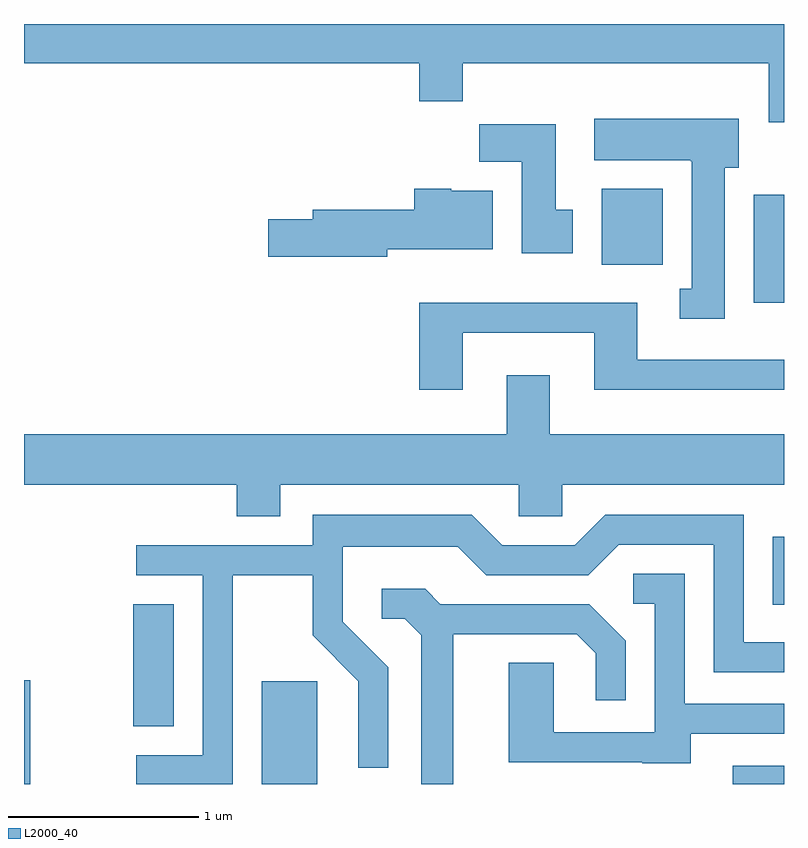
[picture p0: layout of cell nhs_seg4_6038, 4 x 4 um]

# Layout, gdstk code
import gdstk
lib = gdstk.Library(unit=1e-6, precision=1e-09)
def R(c, l, rs):  # rectangles x0, y0, x1, y1
    for r in rs: c.add(gdstk.rectangle(r[:2], r[2:], *l))
def P(c, l, *ps):  # polygons
    for p in ps: c.add(gdstk.Polygon(p, *l))
L2000_40 = (2000, 40)

nhs_seg4_6038 = lib.new_cell('nhs_seg4_6038')
R(nhs_seg4_6038, L2000_40, [(361.611,1361.982,361.644,1362.529), (362.861,1361.982,363.154,1362.524), (365.341,1361.982,365.611,1362.079), (362.186,1362.286,362.399,1362.929), (365.551,1362.926,365.611,1363.283), (365.451,1364.516,365.611,1365.084), (364.651,1364.716,364.974,1365.114)])
P(nhs_seg4_6038, L2000_40, [(365.611,1365.982),(361.611,1365.982),(361.611,1365.776),(363.691,1365.776),(363.691,1365.576),(363.919,1365.576),(363.919,1365.776),(365.531,1365.776),(365.531,1365.466),(365.611,1365.466)],
  [(365.299,1365.226),(365.374,1365.226),(365.374,1365.484),(364.611,1365.484),(364.611,1365.266),(365.12,1365.266),(365.12,1365.26),(365.126,1365.26),(365.126,1364.589),(365.063,1364.589),(365.063,1364.431),(365.299,1364.431)],
  [(364.499,1365.004),(364.409,1365.004),(364.409,1365.454),(364.006,1365.454),(364.006,1365.256),(364.231,1365.256),(364.231,1364.776),(364.499,1364.776)],
  [(363.524,1364.796),(364.079,1364.796),(364.079,1365.104),(363.86,1365.104),(363.86,1365.114),(363.666,1365.114),(363.666,1365.004),(363.131,1365.004),(363.131,1364.954),(362.896,1364.954),(362.896,1364.756),(363.524,1364.756)],
  [(363.919,1364.356),(364.611,1364.356),(364.611,1364.056),(365.611,1364.056),(365.611,1364.214),(364.839,1364.214),(364.839,1364.514),(363.691,1364.514),(363.691,1364.056),(363.919,1364.056)],
  [(362.959,1363.556),(364.216,1363.556),(364.216,1363.391),(364.444,1363.391),(364.444,1363.556),(365.611,1363.556),(365.611,1363.824),(364.379,1363.824),(364.379,1364.134),(364.151,1364.134),(364.151,1363.824),(361.611,1363.824),(361.611,1363.556),(362.731,1363.556),(362.731,1363.391),(362.959,1363.391)],
  [(362.709,1363.081),(363.131,1363.081),(363.131,1362.764),(363.371,1362.524),(363.371,1362.068),(363.529,1362.068),(363.529,1362.597),(363.289,1362.837),(363.289,1363.231),(363.894,1363.231),(364.044,1363.081),(364.582,1363.081),(364.742,1363.241),(365.241,1363.241),(365.241,1362.571),(365.611,1362.571),(365.611,1362.729),(365.399,1362.729),(365.399,1363.399),(364.669,1363.399),(364.509,1363.239),(364.127,1363.239),(363.967,1363.399),(363.131,1363.399),(363.131,1363.239),(362.203,1363.239),(362.203,1363.081),(362.551,1363.081),(362.551,1362.134),(362.203,1362.134),(362.203,1361.982),(362.709,1361.982)],
  [(365.119,1362.246),(365.611,1362.246),(365.611,1362.404),(365.089,1362.404),(365.089,1363.089),(364.818,1363.089),(364.818,1362.931),(364.931,1362.931),(364.931,1362.254),(364.399,1362.254),(364.399,1362.619),(364.161,1362.619),(364.161,1362.096),(364.865,1362.096),(364.865,1362.091),(365.119,1362.091)],
  [(363.869,1362.771),(364.519,1362.771),(364.621,1362.669),(364.621,1362.423),(364.779,1362.423),(364.779,1362.737),(364.587,1362.929),(363.802,1362.929),(363.722,1363.009),(363.493,1363.009),(363.493,1362.851),(363.614,1362.851),(363.701,1362.764),(363.701,1361.982),(363.869,1361.982)])

lib.write_gds('nhs_seg4_6038.gds')
